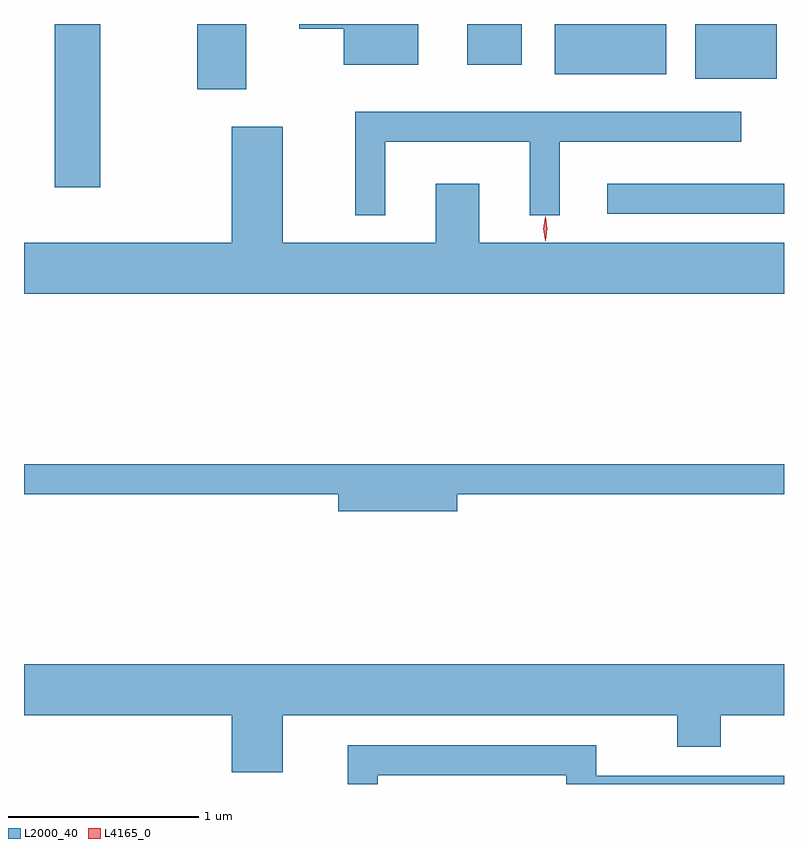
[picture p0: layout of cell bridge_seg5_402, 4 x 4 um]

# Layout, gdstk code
import gdstk
lib = gdstk.Library(unit=1e-6, precision=1e-09)
def R(c, l, rs):  # rectangles x0, y0, x1, y1
    for r in rs: c.add(gdstk.rectangle(r[:2], r[2:], *l))
def P(c, l, *ps):  # polygons
    for p in ps: c.add(gdstk.Polygon(p, *l))
L2000_40 = (2000, 40)
L4165_0 = (4165, 0)

bridge_seg5_402 = lib.new_cell('bridge_seg5_402')
R(bridge_seg5_402, L2000_40, [(596.673,1501.616,597.603,1501.774), (593.766,1501.756,594.004,1502.615), (594.516,1502.271,594.774,1502.615), (597.136,1502.326,597.564,1502.615), (596.396,1502.351,596.984,1502.615), (595.936,1502.401,596.224,1502.615)])
P(bridge_seg5_402, L2000_40, [(595.679,1502.615),(595.051,1502.615),(595.051,1502.591),(595.286,1502.591),(595.286,1502.401),(595.679,1502.401)],
  [(595.504,1501.996),(596.266,1501.996),(596.266,1501.608),(596.424,1501.608),(596.424,1501.996),(597.378,1501.996),(597.378,1502.154),(595.346,1502.154),(595.346,1501.608),(595.504,1501.608)],
  [(597.603,1501.464),(595.999,1501.464),(595.999,1501.774),(595.771,1501.774),(595.771,1501.464),(594.964,1501.464),(594.964,1502.074),(594.696,1502.074),(594.696,1501.464),(593.603,1501.464),(593.603,1501.196),(597.603,1501.196)],
  [(595.884,1500.141),(597.603,1500.141),(597.603,1500.299),(593.603,1500.299),(593.603,1500.141),(595.256,1500.141),(595.256,1500.051),(595.884,1500.051)],
  [(594.964,1498.976),(597.041,1498.976),(597.041,1498.811),(597.269,1498.811),(597.269,1498.976),(597.603,1498.976),(597.603,1499.244),(593.603,1499.244),(593.603,1498.976),(594.696,1498.976),(594.696,1498.676),(594.964,1498.676)],
  [(595.464,1498.661),(596.456,1498.661),(596.456,1498.615),(597.603,1498.615),(597.603,1498.659),(596.614,1498.659),(596.614,1498.819),(595.306,1498.819),(595.306,1498.615),(595.464,1498.615)])
P(bridge_seg5_402, L4165_0, [(596.348,1501.473),(596.347,1501.474),(596.337,1501.538),(596.347,1501.601),(596.347,1501.602),(596.348,1501.601),(596.357,1501.538),(596.348,1501.474)])

lib.write_gds('bridge_seg5_402.gds')
